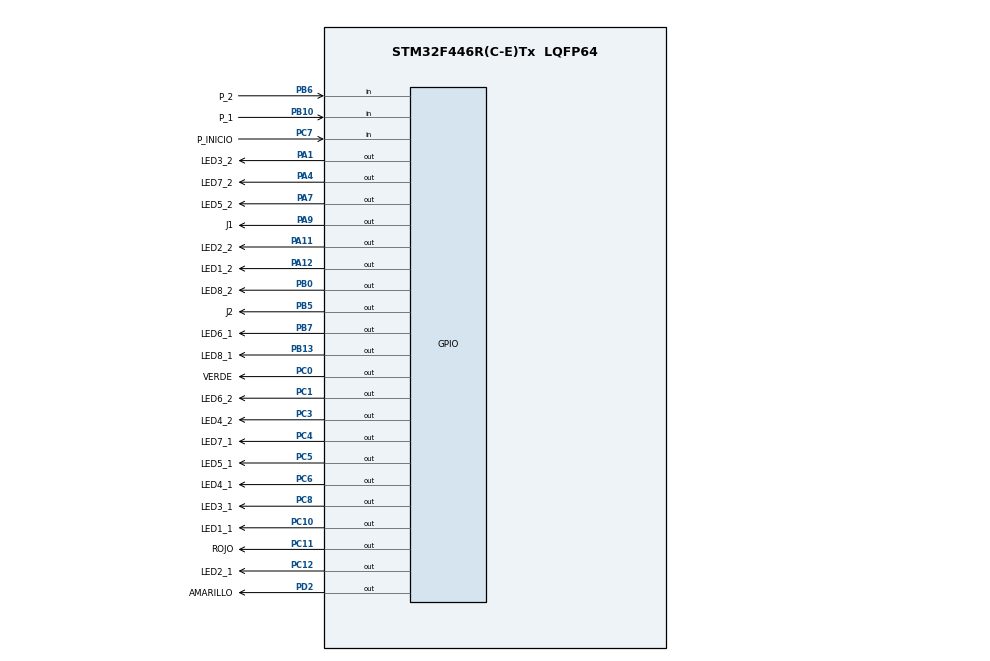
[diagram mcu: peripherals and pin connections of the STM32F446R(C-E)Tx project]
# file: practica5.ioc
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Mcu.Family=STM32F4
Mcu.Name=STM32F446R(C-E)Tx
Mcu.Package=LQFP64
NVIC.PriorityGroup=NVIC_PRIORITYGROUP_4
PA1.GPIO_Label=LED3_2
PA1.Signal=GPIO_Output
PA11.GPIO_Label=LED2_2
PA11.Signal=GPIO_Output
PA12.GPIO_Label=LED1_2
PA12.Signal=GPIO_Output
PA13.Mode=Serial_Wire
PA13.Signal=SYS_JTMS-SWDIO
PA14.Mode=Serial_Wire
PA14.Signal=SYS_JTCK-SWCLK
PA4.GPIO_Label=LED7_2
PA4.Signal=GPIO_Output
PA7.GPIO_Label=LED5_2
PA7.Signal=GPIO_Output
PA9.GPIO_Label=J1
PA9.Signal=GPIO_Output
PB0.GPIO_Label=LED8_2
PB0.Signal=GPIO_Output
PB10.GPIO_Label=P_1
PB10.GPIO_PuPd=GPIO_PULLUP
PB10.Signal=GPIO_Input
PB13.GPIO_Label=LED8_1
PB13.Signal=GPIO_Output
PB5.GPIO_Label=J2
PB5.Signal=GPIO_Output
PB6.GPIO_Label=P_2
PB6.GPIO_PuPd=GPIO_PULLUP
PB6.Signal=GPIO_Input
PB7.GPIO_Label=LED6_1
PB7.Signal=GPIO_Output
PC0.GPIO_Label=VERDE
PC0.Signal=GPIO_Output
PC1.GPIO_Label=LED6_2
PC1.Signal=GPIO_Output
PC10.GPIO_Label=LED1_1
PC10.Signal=GPIO_Output
PC11.GPIO_Label=ROJO
PC11.Signal=GPIO_Output
PC12.GPIO_Label=LED2_1
PC12.Signal=GPIO_Output
PC3.GPIO_Label=LED4_2
PC3.Signal=GPIO_Output
PC4.GPIO_Label=LED7_1
PC4.Signal=GPIO_Output
PC5.GPIO_Label=LED5_1
PC5.Signal=GPIO_Output
PC6.GPIO_Label=LED4_1
PC6.Signal=GPIO_Output
PC7.GPIO_Label=P_INICIO
PC7.GPIO_PuPd=GPIO_PULLUP
PC7.Signal=GPIO_Input
PC8.GPIO_Label=LED3_1
PC8.Signal=GPIO_Output
PD2.GPIO_Label=AMARILLO
PD2.Signal=GPIO_Output
PH0-OSC_IN.Mode=HSE-External-Oscillator
PH0-OSC_IN.Signal=RCC_OSC_IN
PH1-OSC_OUT.Mode=HSE-External-Oscillator
PH1-OSC_OUT.Signal=RCC_OSC_OUT
ProjectManager.HeapSize=0x200
ProjectManager.StackSize=0x400
ProjectManager.TargetToolchain=STM32CubeIDE
RCC.CortexFreq_Value=16000000
RCC.USBFreq_Value=96000000
RCC.VCOOutputFreq_Value=192000000
board=custom

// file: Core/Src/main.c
/* USER CODE BEGIN Header */
/**
  ******************************************************************************
  * @file           : main.c
  * @brief          : Main program body
  ******************************************************************************
  * @attention
  *
  * Copyright (c) 2024 STMicroelectronics.
  * All rights reserved.
  *
  * This software is licensed under terms that can be found in the LICENSE file
  * in the root directory of this software component.
  * If no LICENSE file comes with this software, it is provided AS-IS.
  *
  ******************************************************************************
  */
/* USER CODE END Header */
#include "main.h"

/* USER CODE BEGIN PV */
int activa = 0, contador1 = 0, contador2 = 0, bloqueo1 = 0, bloqueo2 = 0;

/* USER CODE END PV */

void SystemClock_Config(void);
static void MX_GPIO_Init(void);

int main(void)
{

  /* MCU Configuration--------------------------------------------------------*/

  /* Reset of all peripherals, Initializes the Flash interface and the Systick. */
  HAL_Init();

  /* Configure the system clock */
  SystemClock_Config();

  /* Initialize all configured peripherals */
  MX_GPIO_Init();

  /* Infinite loop */
  /* USER CODE BEGIN WHILE */
  while (1)
  {
	  if(HAL_GPIO_ReadPin(GPIOC, P_INICIO_Pin) == 0){
		  contador1= 0;
		  contador2 = 0;
		  bloqueo1 = 0;
		  bloqueo2 = 0;
		  HAL_GPIO_WritePin(LED1_1_GPIO_Port, LED1_1_Pin, 0);
		  HAL_GPIO_WritePin(LED2_1_GPIO_Port, LED2_1_Pin, 0);
		  HAL_GPIO_WritePin(LED3_1_GPIO_Port, LED3_1_Pin, 0);
		  HAL_GPIO_WritePin(LED4_1_GPIO_Port, LED4_1_Pin, 0);
		  HAL_GPIO_WritePin(LED5_1_GPIO_Port, LED5_1_Pin, 0);
		  HAL_GPIO_WritePin(LED6_1_GPIO_Port, LED6_1_Pin, 0);
		  HAL_GPIO_WritePin(LED7_1_GPIO_Port, LED7_1_Pin, 0);
		  HAL_GPIO_WritePin(LED8_1_GPIO_Port, LED8_1_Pin, 0);
		  HAL_GPIO_WritePin(J1_GPIO_Port, J1_Pin, 0);

		  HAL_GPIO_WritePin(LED1_2_GPIO_Port, LED1_2_Pin, 0);
		  HAL_GPIO_WritePin(LED2_2_GPIO_Port, LED2_2_Pin, 0);
		  HAL_GPIO_WritePin(LED3_2_GPIO_Port, LED3_2_Pin, 0);
		  HAL_GPIO_WritePin(LED4_2_GPIO_Port, LED4_2_Pin, 0);
		  HAL_GPIO_WritePin(LED5_2_GPIO_Port, LED5_2_Pin, 0);
		  HAL_GPIO_WritePin(LED6_2_GPIO_Port, LED6_2_Pin, 0);
		  HAL_GPIO_WritePin(LED7_2_GPIO_Port, LED7_2_Pin, 0);
		  HAL_GPIO_WritePin(LED8_2_GPIO_Port, LED8_2_Pin, 0);
		  HAL_GPIO_WritePin(J2_GPIO_Port, J2_Pin, 0);

		  HAL_GPIO_WritePin(VERDE_GPIO_Port, VERDE_Pin, 0);
		  HAL_GPIO_WritePin(ROJO_GPIO_Port, ROJO_Pin, 1);
		  HAL_Delay(3000);
		  HAL_GPIO_WritePin(ROJO_GPIO_Port, ROJO_Pin, 0);
		  HAL_GPIO_WritePin(AMARILLO_GPIO_Port, AMARILLO_Pin, 1);
		  HAL_Delay(500);
		  HAL_GPIO_WritePin(AMARILLO_GPIO_Port, AMARILLO_Pin, 0);
		  HAL_Delay(500);
		  HAL_GPIO_WritePin(AMARILLO_GPIO_Port, AMARILLO_Pin, 1);
		  HAL_Delay(500);
		  HAL_GPIO_WritePin(AMARILLO_GPIO_Port, AMARILLO_Pin, 0);
		  HAL_Delay(500);
		  HAL_GPIO_WritePin(AMARILLO_GPIO_Port, AMARILLO_Pin, 1);
		  HAL_Delay(500);
		  HAL_GPIO_WritePin(AMARILLO_GPIO_Port, AMARILLO_Pin, 0);
		  HAL_Delay(500);
		  HAL_GPIO_WritePin(VERDE_GPIO_Port, VERDE_Pin, 1);
		  HAL_Delay(500);
		  activa = 1;
	  }

	  if(activa == 1){
		  if(HAL_GPIO_ReadPin(GPIOB, P_1_Pin) == 0 && bloqueo2 == 0){
			  contador1 = contador1*2;
			  if(contador1 == 0){
				  contador1 = 1;
			  }

			  while (HAL_GPIO_ReadPin(GPIOB, P_1_Pin) == 0)   //While para evitar sumas indebidas
			  		{
			  			HAL_Delay(10);
			  		}

		  }

		  if(HAL_GPIO_ReadPin(GPIOB, P_2_Pin) == 0 && bloqueo1 == 0){
				  contador2 = contador2*2;
				  if(contador2 == 0){
					  contador2 = 1;
				  }

				  while (HAL_GPIO_ReadPin(GPIOB, P_2_Pin) == 0)   //While para evitar sumas indebidas
				  		{
				  			HAL_Delay(10);
				  		}

			  }

	  }

	  switch(contador1){
	  case 1:
		  HAL_GPIO_WritePin(LED1_1_GPIO_Port, LED1_1_Pin, 1);
		  break;
	  case 2:
		  HAL_GPIO_WritePin(LED2_1_GPIO_Port, LED2_1_Pin, 1);
		  break;
	  case 4:
		  HAL_GPIO_WritePin(LED3_1_GPIO_Port, LED3_1_Pin, 1);
		  break;

	  case 8:
		  HAL_GPIO_WritePin(LED4_1_GPIO_Port, LED4_1_Pin, 1);
		  break;
	  case 16:
		  HAL_GPIO_WritePin(LED5_1_GPIO_Port, LED5_1_Pin, 1);
		  break;
	  case 32:
		  HAL_GPIO_WritePin(LED6_1_GPIO_Port, LED6_1_Pin, 1);
		  break;
	  case 64:
		  HAL_GPIO_WritePin(LED7_1_GPIO_Port, LED7_1_Pin, 1);
		  break;
	  case 128:
		  HAL_GPIO_WritePin(LED8_1_GPIO_Port, LED8_1_Pin, 1);
		  bloqueo1 = 1;
		  HAL_Delay(20);
		  HAL_GPIO_WritePin(J1_GPIO_Port, J1_Pin, 1);

		  break;
	  case 0:
		  HAL_GPIO_WritePin(LED1_1_GPIO_Port, LED1_1_Pin, 0);
		  HAL_GPIO_WritePin(LED2_1_GPIO_Port, LED2_1_Pin, 0);
		  HAL_GPIO_WritePin(LED3_1_GPIO_Port, LED3_1_Pin, 0);
		  HAL_GPIO_WritePin(LED4_1_GPIO_Port, LED4_1_Pin, 0);
		  HAL_GPIO_WritePin(LED5_1_GPIO_Port, LED5_1_Pin, 0);
		  HAL_GPIO_WritePin(LED6_1_GPIO_Port, LED6_1_Pin, 0);
		  HAL_GPIO_WritePin(LED7_1_GPIO_Port, LED7_1_Pin, 0);
		  HAL_GPIO_WritePin(LED8_1_GPIO_Port, LED8_1_Pin, 0);
		  HAL_GPIO_WritePin(J1_GPIO_Port, J1_Pin, 0);
	 	  break;

	  }

	  switch(contador2){
	  	  case 1:
	  		  HAL_GPIO_WritePin(LED1_2_GPIO_Port, LED1_2_Pin, 1);
	  		  break;
	  	  case 2:
	  		  HAL_GPIO_WritePin(LED2_2_GPIO_Port, LED2_2_Pin, 1);
	  		  break;
	  	  case 4:
	  		  HAL_GPIO_WritePin(LED3_2_GPIO_Port, LED3_2_Pin, 1);
	  		  break;

	  	  case 8:
	  		  HAL_GPIO_WritePin(LED4_2_GPIO_Port, LED4_2_Pin, 1);
	  		  break;
	  	  case 16:
	  		  HAL_GPIO_WritePin(LED5_2_GPIO_Port, LED5_2_Pin, 1);
	  		  break;
	  	  case 32:
	  		  HAL_GPIO_WritePin(LED6_2_GPIO_Port, LED6_2_Pin, 1);
	  		  break;
	  	  case 64:
	  		  HAL_GPIO_WritePin(LED7_2_GPIO_Port, LED7_2_Pin, 1);
	  		  break;
	  	  case 128:
	  		  HAL_GPIO_WritePin(LED8_2_GPIO_Port, LED8_2_Pin, 1);
	  		bloqueo2 = 1;
		    HAL_Delay(20);
		    HAL_GPIO_WritePin(J2_GPIO_Port, J2_Pin, 1);
	  		  break;

	  	 case 0:
			  HAL_GPIO_WritePin(LED1_2_GPIO_Port, LED1_2_Pin, 0);
			  HAL_GPIO_WritePin(LED2_2_GPIO_Port, LED2_2_Pin, 0);
			  HAL_GPIO_WritePin(LED3_2_GPIO_Port, LED3_2_Pin, 0);
			  HAL_GPIO_WritePin(LED4_2_GPIO_Port, LED4_2_Pin, 0);
			  HAL_GPIO_WritePin(LED5_2_GPIO_Port, LED5_2_Pin, 0);
			  HAL_GPIO_WritePin(LED6_2_GPIO_Port, LED6_2_Pin, 0);
			  HAL_GPIO_WritePin(LED7_2_GPIO_Port, LED7_2_Pin, 0);
			  HAL_GPIO_WritePin(LED8_2_GPIO_Port, LED8_2_Pin, 0);
			  HAL_GPIO_WritePin(J2_GPIO_Port, J2_Pin, 0);
			  break;

	  	  }

    /* USER CODE END WHILE */

  }
}

void SystemClock_Config(void)
{
  RCC_OscInitTypeDef RCC_OscInitStruct = {0};
  RCC_ClkInitTypeDef RCC_ClkInitStruct = {0};

  /** Configure the main internal regulator output voltage
  */
  __HAL_RCC_PWR_CLK_ENABLE();
  __HAL_PWR_VOLTAGESCALING_CONFIG(PWR_REGULATOR_VOLTAGE_SCALE3);

  /** Initializes the RCC Oscillators according to the specified parameters
  * in the RCC_OscInitTypeDef structure.
  */
  RCC_OscInitStruct.OscillatorType = RCC_OSCILLATORTYPE_HSI;
  RCC_OscInitStruct.HSIState = RCC_HSI_ON;
  RCC_OscInitStruct.HSICalibrationValue = RCC_HSICALIBRATION_DEFAULT;
  RCC_OscInitStruct.PLL.PLLState = RCC_PLL_NONE;
  if (HAL_RCC_OscConfig(&RCC_OscInitStruct) != HAL_OK)
  {
    Error_Handler();
  }

  /** Initializes the CPU, AHB and APB buses clocks
  */
  RCC_ClkInitStruct.ClockType = RCC_CLOCKTYPE_HCLK|RCC_CLOCKTYPE_SYSCLK
                              |RCC_CLOCKTYPE_PCLK1|RCC_CLOCKTYPE_PCLK2;
  RCC_ClkInitStruct.SYSCLKSource = RCC_SYSCLKSOURCE_HSI;
  RCC_ClkInitStruct.AHBCLKDivider = RCC_SYSCLK_DIV1;
  RCC_ClkInitStruct.APB1CLKDivider = RCC_HCLK_DIV1;
  RCC_ClkInitStruct.APB2CLKDivider = RCC_HCLK_DIV1;

  if (HAL_RCC_ClockConfig(&RCC_ClkInitStruct, FLASH_LATENCY_0) != HAL_OK)
  {
    Error_Handler();
  }
}

static void MX_GPIO_Init(void)
{
  GPIO_InitTypeDef GPIO_InitStruct = {0};

  /* GPIO Ports Clock Enable */
  __HAL_RCC_GPIOH_CLK_ENABLE();
  __HAL_RCC_GPIOC_CLK_ENABLE();
  __HAL_RCC_GPIOA_CLK_ENABLE();
  __HAL_RCC_GPIOB_CLK_ENABLE();
  __HAL_RCC_GPIOD_CLK_ENABLE();

  /*Configure GPIO pin Output Level */
  HAL_GPIO_WritePin(GPIOC, VERDE_Pin|LED6_2_Pin|LED4_2_Pin|LED7_1_Pin
                          |LED5_1_Pin|LED4_1_Pin|LED3_1_Pin|LED1_1_Pin
                          |ROJO_Pin|LED2_1_Pin, GPIO_PIN_RESET);

  /*Configure GPIO pin Output Level */
  HAL_GPIO_WritePin(GPIOA, LED3_2_Pin|LED7_2_Pin|LED5_2_Pin|J1_Pin
                          |LED2_2_Pin|LED1_2_Pin, GPIO_PIN_RESET);

  /*Configure GPIO pin Output Level */
  HAL_GPIO_WritePin(GPIOB, LED8_2_Pin|LED8_1_Pin|J2_Pin|LED6_1_Pin, GPIO_PIN_RESET);

  /*Configure GPIO pin Output Level */
  HAL_GPIO_WritePin(AMARILLO_GPIO_Port, AMARILLO_Pin, GPIO_PIN_RESET);

  /*Configure GPIO pins : VERDE_Pin LED6_2_Pin LED4_2_Pin LED7_1_Pin
                           LED5_1_Pin LED4_1_Pin LED3_1_Pin LED1_1_Pin
                           ROJO_Pin LED2_1_Pin */
  GPIO_InitStruct.Pin = VERDE_Pin|LED6_2_Pin|LED4_2_Pin|LED7_1_Pin
                          |LED5_1_Pin|LED4_1_Pin|LED3_1_Pin|LED1_1_Pin
                          |ROJO_Pin|LED2_1_Pin;
  GPIO_InitStruct.Mode = GPIO_MODE_OUTPUT_PP;
  GPIO_InitStruct.Pull = GPIO_NOPULL;
  GPIO_InitStruct.Speed = GPIO_SPEED_FREQ_LOW;
  HAL_GPIO_Init(GPIOC, &GPIO_InitStruct);

  /*Configure GPIO pins : LED3_2_Pin LED7_2_Pin LED5_2_Pin J1_Pin
                           LED2_2_Pin LED1_2_Pin */
  GPIO_InitStruct.Pin = LED3_2_Pin|LED7_2_Pin|LED5_2_Pin|J1_Pin
                          |LED2_2_Pin|LED1_2_Pin;
  GPIO_InitStruct.Mode = GPIO_MODE_OUTPUT_PP;
  GPIO_InitStruct.Pull = GPIO_NOPULL;
  GPIO_InitStruct.Speed = GPIO_SPEED_FREQ_LOW;
  HAL_GPIO_Init(GPIOA, &GPIO_InitStruct);

  /*Configure GPIO pins : LED8_2_Pin LED8_1_Pin J2_Pin LED6_1_Pin */
  GPIO_InitStruct.Pin = LED8_2_Pin|LED8_1_Pin|J2_Pin|LED6_1_Pin;
  GPIO_InitStruct.Mode = GPIO_MODE_OUTPUT_PP;
  GPIO_InitStruct.Pull = GPIO_NOPULL;
  GPIO_InitStruct.Speed = GPIO_SPEED_FREQ_LOW;
  HAL_GPIO_Init(GPIOB, &GPIO_InitStruct);

  /*Configure GPIO pins : P_1_Pin P_2_Pin */
  GPIO_InitStruct.Pin = P_1_Pin|P_2_Pin;
  GPIO_InitStruct.Mode = GPIO_MODE_INPUT;
  GPIO_InitStruct.Pull = GPIO_PULLUP;
  HAL_GPIO_Init(GPIOB, &GPIO_InitStruct);

  /*Configure GPIO pin : P_INICIO_Pin */
  GPIO_InitStruct.Pin = P_INICIO_Pin;
  GPIO_InitStruct.Mode = GPIO_MODE_INPUT;
  GPIO_InitStruct.Pull = GPIO_PULLUP;
  HAL_GPIO_Init(P_INICIO_GPIO_Port, &GPIO_InitStruct);

  /*Configure GPIO pin : AMARILLO_Pin */
  GPIO_InitStruct.Pin = AMARILLO_Pin;
  GPIO_InitStruct.Mode = GPIO_MODE_OUTPUT_PP;
  GPIO_InitStruct.Pull = GPIO_NOPULL;
  GPIO_InitStruct.Speed = GPIO_SPEED_FREQ_LOW;
  HAL_GPIO_Init(AMARILLO_GPIO_Port, &GPIO_InitStruct);

}

void Error_Handler(void)
{
  __disable_irq();
  while (1)
  {
  }
}
